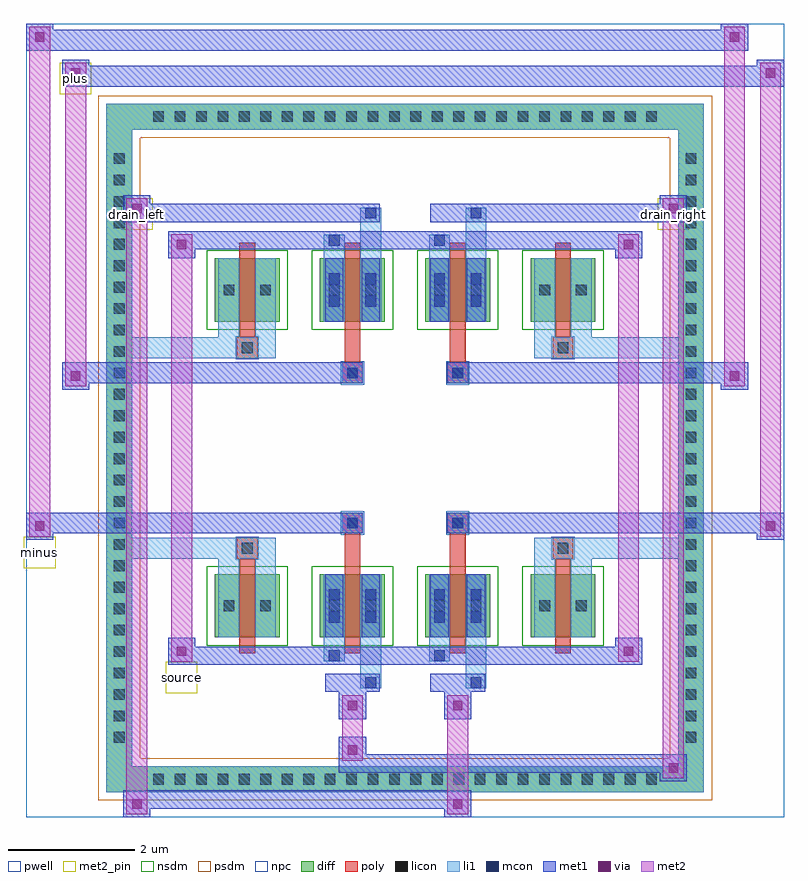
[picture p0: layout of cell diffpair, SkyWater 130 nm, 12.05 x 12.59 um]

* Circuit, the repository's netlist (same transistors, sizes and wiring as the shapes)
* NGSPICE file created from diffpair.ext - technology: sky130A

.subckt diffpair minus drain_right drain_left source plus
X0 drain_right minus source a_n948_n1092# sky130_fd_pr__nfet_01v8 ad=0.39 pd=2.78 as=0.39 ps=2.78 w=1 l=0.25
X1 a_n948_n1092# a_n948_n1092# a_n948_n1092# a_n948_n1092# sky130_fd_pr__nfet_01v8 ad=0.39 pd=2.78 as=3.12 ps=22.24 w=1 l=0.25
X2 a_n948_n1092# a_n948_n1092# a_n948_n1092# a_n948_n1092# sky130_fd_pr__nfet_01v8 ad=0.39 pd=2.78 as=0 ps=0 w=1 l=0.25
X3 drain_right minus source a_n948_n1092# sky130_fd_pr__nfet_01v8 ad=0.39 pd=2.78 as=0.39 ps=2.78 w=1 l=0.25
X4 drain_left plus source a_n948_n1092# sky130_fd_pr__nfet_01v8 ad=0.39 pd=2.78 as=0.39 ps=2.78 w=1 l=0.25
X5 a_n948_n1092# a_n948_n1092# a_n948_n1092# a_n948_n1092# sky130_fd_pr__nfet_01v8 ad=0.39 pd=2.78 as=0 ps=0 w=1 l=0.25
X6 a_n948_n1092# a_n948_n1092# a_n948_n1092# a_n948_n1092# sky130_fd_pr__nfet_01v8 ad=0.39 pd=2.78 as=0 ps=0 w=1 l=0.25
X7 drain_left plus source a_n948_n1092# sky130_fd_pr__nfet_01v8 ad=0.39 pd=2.78 as=0.39 ps=2.78 w=1 l=0.25
.ends

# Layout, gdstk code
import gdstk
lib = gdstk.Library(unit=1e-6, precision=5e-09)
def R(c, l, rs):  # rectangles x0, y0, x1, y1
    for r in rs: c.add(gdstk.rectangle(r[:2], r[2:], *l))
def A(c, l, x, y, w, h, nx, ny, dx, dy):  # array of equal rectangles
    R(c, l, [(x+i*dx, y+j*dy, x+i*dx+w, y+j*dy+h) for i in range(nx) for j in range(ny)])
def P(c, l, *ps):  # polygons
    for p in ps: c.add(gdstk.Polygon(p, *l))
pwell = (64, 44)
diff = (65, 20)
poly = (66, 20)
licon = (66, 44)
li1 = (67, 20)
mcon = (67, 44)
met1 = (68, 20)
via = (68, 44)
met2_pin = (69, 16)
met2 = (69, 20)
nsdm = (93, 44)
psdm = (94, 20)
npc = (95, 20)

diffpair = lib.new_cell('diffpair')
R(diffpair, pwell, [(-6.01,-5.86,6.01,6.73), (-3.33,-4.05,-0.01,-0.825), (0.01,-4.05,3.33,-0.825), (-3.33,0.825,-0.01,4.05), (0.01,0.825,3.33,4.05)])
A(diffpair, diff, -4.115, -5.46, 0.41, 0.41, 24, 2, 0.34, 10.51)
A(diffpair, diff, -4.74, -4.795, 0.41, 0.41, 1, 28, 0, 0.34)
A(diffpair, diff, 4.33, -4.795, 0.41, 0.41, 1, 28, 0, 0.34)
A(diffpair, diff, -3.02, -3.005, 1.03, 1, 4, 2, 1.67, 5.01)
R(diffpair, diff, [(-4.115,-5.46,4.115,-5.05), (-4.74,-4.795,-4.33,4.795), (4.33,-4.795,4.74,4.795), (-4.115,5.05,4.115,5.46)])
P(diffpair, diff, [(4.74,5.46),(-4.74,5.46),(-4.74,-5.05),(-4.33,-5.05),(-4.33,5.05),(4.33,5.05),(4.33,-5.05),(-4.33,-5.05),(-4.74,-5.05),(-4.74,-5.46),(4.74,-5.46)])
A(diffpair, poly, -2.63, -3.255, 0.25, 1.5, 4, 2, 1.67, 5.01)
R(diffpair, poly, [(-2.67,-1.755,-2.34,-1.425), (-2.67,-1.755,-2.34,-1.425), (-0.96,-1.755,-0.71,-1.355), (0.71,-1.755,0.96,-1.355), (2.34,-1.755,2.67,-1.425), (2.34,-1.755,2.67,-1.425), (-1,-1.355,-0.67,-1.025), (-1,-1.355,-0.67,-1.025), (0.67,-1.355,1,-1.025), (0.67,-1.355,1,-1.025), (-1,1.025,-0.67,1.355), (-1,1.025,-0.67,1.355), (0.67,1.025,1,1.355), (0.67,1.025,1,1.355), (-0.96,1.355,-0.71,1.755), (0.71,1.355,0.96,1.755), (-2.67,1.425,-2.34,1.755), (-2.67,1.425,-2.34,1.755), (2.34,1.425,2.67,1.755), (2.34,1.425,2.67,1.755)])
A(diffpair, licon, -3.995, -5.34, 0.17, 0.17, 24, 2, 0.34, 10.51)
A(diffpair, licon, -4.62, -4.675, 0.17, 0.17, 1, 28, 0, 0.34)
A(diffpair, licon, 4.45, -4.675, 0.17, 0.17, 1, 28, 0, 0.34)
R(diffpair, licon, [(-2.88,-2.59,-2.71,-2.42), (-2.3,-2.59,-2.13,-2.42), (-1.21,-2.59,-1.04,-2.42), (-0.63,-2.59,-0.46,-2.42), (0.46,-2.59,0.63,-2.42), (1.04,-2.59,1.21,-2.42), (2.13,-2.59,2.3,-2.42), (2.71,-2.59,2.88,-2.42), (-2.59,-1.675,-2.42,-1.505), (2.42,-1.675,2.59,-1.505), (-0.92,-1.275,-0.75,-1.105), (0.75,-1.275,0.92,-1.105), (-0.92,1.105,-0.75,1.275), (0.75,1.105,0.92,1.275), (-2.59,1.505,-2.42,1.675), (2.42,1.505,2.59,1.675), (-2.88,2.42,-2.71,2.59), (-2.3,2.42,-2.13,2.59), (-1.21,2.42,-1.04,2.59), (-0.63,2.42,-0.46,2.59), (0.46,2.42,0.63,2.59), (1.04,2.42,1.21,2.59), (2.13,2.42,2.3,2.59), (2.71,2.42,2.88,2.59)])
A(diffpair, li1, -4.075, -5.42, 0.33, 0.33, 24, 2, 0.34, 10.51)
A(diffpair, li1, -4.7, -4.755, 0.33, 0.33, 1, 28, 0, 0.34)
A(diffpair, li1, 4.37, -4.755, 0.33, 0.33, 1, 28, 0, 0.34)
R(diffpair, li1, [(-4.74,-5.46,-4.33,-5.05), (-4.74,-5.46,-4.33,-5.05), (-4.33,-5.46,4.33,-5.05), (4.33,-5.46,4.74,-5.05), (4.33,-5.46,4.74,-5.05), (-4.74,-5.05,-4.33,5.05), (4.33,-5.05,4.74,5.05), (-0.71,-3.81,-0.38,-3.005), (-0.63,-3.81,-0.46,-3.64), (0.96,-3.81,1.29,-3.005), (1.04,-3.81,1.21,-3.64), (-1.29,-3.38,-0.96,-3.005), (-1.21,-3.38,-1.04,-3.21), (0.38,-3.38,0.71,-3.005), (0.46,-3.38,0.63,-3.21), (-2.96,-3.005,-2.63,-2.005), (-2.38,-3.005,-2.05,-2.005), (-1.29,-3.005,-0.96,-2.005), (-0.71,-3.005,-0.38,-2.005), (0.38,-3.005,0.71,-2.005), (0.96,-3.005,1.29,-2.005), (2.05,-3.005,2.38,-2.005), (2.63,-3.005,2.96,-2.005), (-1.21,-2.77,-1.04,-2.6), (-1.21,-2.77,-1.04,-2.24), (-0.63,-2.77,-0.46,-2.6), (-0.63,-2.77,-0.46,-2.24), (0.46,-2.77,0.63,-2.6), (0.46,-2.77,0.63,-2.24), (1.04,-2.77,1.21,-2.6), (1.04,-2.77,1.21,-2.24), (-2.96,-2.67,-2.63,-2.34), (-2.38,-2.67,-2.05,-2.34), (-1.29,-2.67,-0.96,-2.34), (-0.71,-2.67,-0.38,-2.34), (0.38,-2.67,0.71,-2.34), (0.96,-2.67,1.29,-2.34), (2.05,-2.67,2.38,-2.34), (2.63,-2.67,2.96,-2.34), (-1.21,-2.41,-1.04,-2.24), (-0.63,-2.41,-0.46,-2.24), (0.46,-2.41,0.63,-2.24), (1.04,-2.41,1.21,-2.24), (-2.96,-2.005,-2.63,-1.425), (-2.38,-2.005,-2.05,-1.425), (2.05,-2.005,2.38,-1.425), (2.63,-2.005,2.96,-1.425), (-4.74,-1.755,-2.67,-1.425), (-2.96,-1.755,-2.67,-1.425), (-2.67,-1.755,-2.34,-1.425), (-2.34,-1.755,-2.05,-1.425), (2.05,-1.755,2.34,-1.425), (2.34,-1.755,2.67,-1.425), (2.34,-1.755,4.74,-1.425), (2.67,-1.755,2.96,-1.425), (-1,-1.355,-0.67,-1.025), (0.67,-1.355,1,-1.025), (-1,1.025,-0.67,1.355), (0.67,1.025,1,1.355), (-4.74,1.425,-2.67,1.755), (-2.96,1.425,-2.67,1.755), (-2.96,1.425,-2.63,2.005), (-2.67,1.425,-2.34,1.755), (-2.38,1.425,-2.05,2.005), (-2.34,1.425,-2.05,1.755), (2.05,1.425,2.34,1.755), (2.05,1.425,2.38,2.005), (2.34,1.425,2.67,1.755), (2.34,1.425,4.74,1.755), (2.63,1.425,2.96,2.005), (2.67,1.425,2.96,1.755), (-2.96,2.005,-2.63,3.005), (-2.38,2.005,-2.05,3.005), (-1.29,2.005,-0.96,3.005), (-0.71,2.005,-0.38,3.005), (0.38,2.005,0.71,3.005), (0.96,2.005,1.29,3.005), (2.05,2.005,2.38,3.005), (2.63,2.005,2.96,3.005), (-1.21,2.24,-1.04,2.41), (-1.21,2.24,-1.04,2.77), (-0.63,2.24,-0.46,2.41), (-0.63,2.24,-0.46,2.77), (0.46,2.24,0.63,2.41), (0.46,2.24,0.63,2.77), (1.04,2.24,1.21,2.41), (1.04,2.24,1.21,2.77), (-2.96,2.34,-2.63,2.67), (-2.38,2.34,-2.05,2.67), (-1.29,2.34,-0.96,2.67), (-0.71,2.34,-0.38,2.67), (0.38,2.34,0.71,2.67), (0.96,2.34,1.29,2.67), (2.05,2.34,2.38,2.67), (2.63,2.34,2.96,2.67), (-1.21,2.6,-1.04,2.77), (-0.63,2.6,-0.46,2.77), (0.46,2.6,0.63,2.77), (1.04,2.6,1.21,2.77), (-1.29,3.005,-0.96,3.38), (-0.71,3.005,-0.38,3.81), (0.38,3.005,0.71,3.38), (0.96,3.005,1.29,3.81), (-1.21,3.21,-1.04,3.38), (0.46,3.21,0.63,3.38), (-0.63,3.64,-0.46,3.81), (1.04,3.64,1.21,3.81), (-4.74,5.05,-4.33,5.46), (-4.74,5.05,-4.33,5.46), (-4.33,5.05,4.33,5.46), (4.33,5.05,4.74,5.46), (4.33,5.05,4.74,5.46)])
R(diffpair, mcon, [(-0.63,-3.81,-0.46,-3.64), (1.04,-3.81,1.21,-3.64), (-1.21,-3.38,-1.04,-3.21), (0.46,-3.38,0.63,-3.21), (-1.21,-2.77,-1.04,-2.6), (-0.63,-2.77,-0.46,-2.6), (0.46,-2.77,0.63,-2.6), (1.04,-2.77,1.21,-2.6), (-1.21,-2.41,-1.04,-2.24), (-0.63,-2.41,-0.46,-2.24), (0.46,-2.41,0.63,-2.24), (1.04,-2.41,1.21,-2.24), (-0.92,-1.275,-0.75,-1.105), (0.75,-1.275,0.92,-1.105), (-0.92,1.105,-0.75,1.275), (0.75,1.105,0.92,1.275), (-1.21,2.24,-1.04,2.41), (-0.63,2.24,-0.46,2.41), (0.46,2.24,0.63,2.41), (1.04,2.24,1.21,2.41), (-1.21,2.6,-1.04,2.77), (-0.63,2.6,-0.46,2.77), (0.46,2.6,0.63,2.77), (1.04,2.6,1.21,2.77), (-1.21,3.21,-1.04,3.38), (0.46,3.21,0.63,3.38), (-0.63,3.64,-0.46,3.81), (1.04,3.64,1.21,3.81)])
R(diffpair, met1, [(-4.47,-5.86,-4.04,-5.43), (0.62,-5.86,1.05,-5.43), (-4.47,-5.72,1.05,-5.43), (4.04,-5.29,4.47,-4.86), (-1.05,-5.15,4.47,-4.86), (-1.05,-5.01,-0.62,-4.58), (-1.05,-4.3,-0.62,-3.87), (0.62,-4.3,1.05,-3.87), (-1.27,-3.87,-0.4,-3.58), (-0.69,-3.87,-0.4,-3.58), (0.4,-3.87,1.27,-3.58), (0.98,-3.87,1.27,-3.58), (-3.76,-3.44,-3.33,-3.01), (-3.76,-3.44,-1.27,-3.15), (-1.27,-3.44,-0.98,-3.15), (-1.27,-3.44,-0.4,-3.15), (-0.4,-3.44,0.4,-3.15), (0.4,-3.44,0.69,-3.15), (0.4,-3.44,1.27,-3.15), (1.27,-3.44,3.76,-3.15), (3.33,-3.44,3.76,-3.01), (-1.27,-3.005,-0.98,-2.005), (-0.69,-3.005,-0.4,-2.005), (0.4,-3.005,0.69,-2.005), (0.98,-3.005,1.27,-2.005), (-1.27,-2.83,-0.98,-2.54), (-0.69,-2.83,-0.4,-2.54), (0.4,-2.83,0.69,-2.54), (0.98,-2.83,1.27,-2.54), (-1.27,-2.47,-0.98,-2.18), (-0.69,-2.47,-0.4,-2.18), (0.4,-2.47,0.69,-2.18), (0.98,-2.47,1.27,-2.18), (-6.01,-1.455,-5.58,-1.025), (5.58,-1.455,6.01,-1.025), (-6.01,-1.355,-0.67,-1.025), (-1,-1.355,-0.67,-1.025), (0.67,-1.355,1,-1.025), (0.67,-1.355,6.01,-1.025), (-0.98,-1.335,-0.69,-1.045), (0.69,-1.335,0.98,-1.045), (-5.44,0.925,-5.01,1.355), (5.01,0.925,5.44,1.355), (-5.44,1.025,-1,1.355), (-1,1.025,-0.67,1.355), (0.67,1.025,1,1.355), (1,1.025,5.44,1.355), (-0.98,1.045,-0.69,1.335), (0.69,1.045,0.98,1.335), (-1.27,2.005,-0.98,3.005), (-0.69,2.005,-0.4,3.005), (0.4,2.005,0.69,3.005), (0.98,2.005,1.27,3.005), (-1.27,2.18,-0.98,2.47), (-0.69,2.18,-0.4,2.47), (0.4,2.18,0.69,2.47), (0.98,2.18,1.27,2.47), (-1.27,2.54,-0.98,2.83), (-0.69,2.54,-0.4,2.83), (0.4,2.54,0.69,2.83), (0.98,2.54,1.27,2.83), (-3.76,3.01,-3.33,3.44), (3.33,3.01,3.76,3.44), (-3.76,3.15,-1.27,3.44), (-1.27,3.15,-0.98,3.44), (-1.27,3.15,-0.4,3.44), (-0.4,3.15,0.4,3.44), (0.4,3.15,0.69,3.44), (0.4,3.15,1.27,3.44), (1.27,3.15,3.76,3.44), (-4.47,3.58,-4.04,4.01), (-4.47,3.58,-1.27,3.87), (-1.27,3.58,-0.4,3.87), (-0.69,3.58,-0.4,3.87), (0.4,3.58,1.27,3.87), (0.98,3.58,1.27,3.87), (1.27,3.58,4.47,3.87), (4.04,3.58,4.47,4.01), (-5.44,5.73,-5.01,6.16), (-5.44,5.73,-3.33,6.06), (-3.33,5.73,3.33,6.06), (3.33,5.73,6.01,6.06), (5.58,5.73,6.01,6.16), (-6.01,6.3,-5.58,6.73), (-6.01,6.3,-3.33,6.63), (-3.33,6.3,3.33,6.63), (3.33,6.3,5.44,6.63), (5.01,6.3,5.44,6.73)])
R(diffpair, via, [(-4.33,-5.72,-4.18,-5.57), (0.76,-5.72,0.91,-5.57), (4.18,-5.15,4.33,-5), (-0.91,-4.87,-0.76,-4.72), (-0.91,-4.16,-0.76,-4.01), (0.76,-4.16,0.91,-4.01), (-3.62,-3.3,-3.47,-3.15), (3.47,-3.3,3.62,-3.15), (-5.87,-1.315,-5.72,-1.165), (5.72,-1.315,5.87,-1.165), (-5.3,1.065,-5.15,1.215), (5.15,1.065,5.3,1.215), (-3.62,3.15,-3.47,3.3), (3.47,3.15,3.62,3.3), (-4.33,3.72,-4.18,3.87), (4.18,3.72,4.33,3.87), (-5.3,5.87,-5.15,6.02), (5.72,5.87,5.87,6.02), (-5.87,6.44,-5.72,6.59), (5.15,6.44,5.3,6.59)])
R(diffpair, met2_pin, [(-3.795,-3.89,-3.295,-3.39), (-6.045,-1.905,-5.545,-1.405), (-4.505,3.46,-4.005,3.96), (4.005,3.46,4.505,3.96), (-5.475,5.61,-4.975,6.11)])
R(diffpair, met2, [(-4.42,-5.81,-4.09,-5.48), (-4.42,-5.81,-4.09,3.96), (0.67,-5.81,1,-5.48), (0.67,-5.48,1,-4.25), (4.09,-5.24,4.42,-4.91), (4.09,-5.24,4.42,3.96), (-1,-4.96,-0.67,-4.63), (-1,-4.63,-0.67,-4.25), (-1,-4.25,-0.67,-3.92), (0.67,-4.25,1,-3.92), (-3.71,-3.39,-3.38,-3.06), (-3.71,-3.39,-3.38,3.39), (3.38,-3.39,3.71,-3.06), (3.38,-3.39,3.71,3.39), (-5.96,-1.405,-5.63,-1.075), (-5.96,-1.405,-5.63,6.68), (5.63,-1.405,5.96,-1.075), (5.63,-1.405,5.96,6.11), (-5.39,0.975,-5.06,1.305), (-5.39,0.975,-5.06,6.11), (5.06,0.975,5.39,1.305), (5.06,0.975,5.39,6.68), (-3.71,3.06,-3.38,3.39), (3.38,3.06,3.71,3.39), (-4.42,3.63,-4.09,3.96), (4.09,3.63,4.42,3.96), (-5.39,5.78,-5.06,6.11), (5.63,5.78,5.96,6.11), (-5.96,6.35,-5.63,6.68), (5.06,6.35,5.39,6.68)])
P(diffpair, met2, [(5.96,-1.405),(5.96,-1.405),(5.96,-1.075),(5.96,-1.075)],
  [(5.96,5.78),(5.96,5.78),(5.96,6.11),(5.96,6.11)],
  [(-5.63,-1.405),(-5.63,-1.405),(-5.63,-1.075),(-5.63,-1.075)],
  [(-5.63,6.35),(-5.63,6.35),(-5.63,6.68),(-5.63,6.68)],
  [(5.39,0.975),(5.39,0.975),(5.39,1.305),(5.39,1.305)],
  [(5.39,6.35),(5.39,6.35),(5.39,6.68),(5.39,6.68)],
  [(-5.06,0.975),(-5.06,0.975),(-5.06,1.305),(-5.06,1.305)],
  [(-5.06,5.78),(-5.06,5.78),(-5.06,6.11),(-5.06,6.11)],
  [(-4.09,-5.81),(-4.09,-5.81),(-4.09,-5.48),(-4.09,-5.48)],
  [(-4.09,3.63),(-4.09,3.63),(-4.09,3.96),(-4.09,3.96)],
  [(4.42,-5.24),(4.42,-5.24),(4.42,-4.91),(4.42,-4.91)],
  [(4.42,3.63),(4.42,3.63),(4.42,3.96),(4.42,3.96)],
  [(-3.38,-3.39),(-3.38,-3.39),(-3.38,-3.06),(-3.38,-3.06)],
  [(-3.38,3.06),(-3.38,3.06),(-3.38,3.39),(-3.38,3.39)],
  [(3.71,-3.39),(3.71,-3.39),(3.71,-3.06),(3.71,-3.06)],
  [(3.71,3.06),(3.71,3.06),(3.71,3.39),(3.71,3.39)])
A(diffpair, nsdm, -3.15, -3.135, 1.29, 1.26, 4, 2, 1.67, 5.01)
P(diffpair, psdm, [(4.87,5.59),(-4.87,5.59),(-4.87,-4.92),(-4.2,-4.92),(-4.2,4.92),(4.2,4.92),(4.2,-4.92),(-4.2,-4.92),(-4.87,-4.92),(-4.87,-5.59),(4.87,-5.59)])
R(diffpair, npc, [(-2.69,-1.775,-2.32,-1.405), (2.32,-1.775,2.69,-1.405), (-1.02,-1.375,-0.65,-1.005), (0.65,-1.375,1.02,-1.005), (-1.02,1.005,-0.65,1.375), (0.65,1.005,1.02,1.375), (-2.69,1.405,-2.32,1.775), (2.32,1.405,2.69,1.775)])
diffpair.add(gdstk.Label('minus', (-5.795,-1.655), layer=69, texttype=5))
diffpair.add(gdstk.Label('drain_right', (4.255,3.71), layer=69, texttype=5))
diffpair.add(gdstk.Label('drain_left', (-4.255,3.71), layer=69, texttype=5))
diffpair.add(gdstk.Label('source', (-3.545,-3.64), layer=69, texttype=5))
diffpair.add(gdstk.Label('plus', (-5.225,5.86), layer=69, texttype=5))

lib.write_gds('diffpair.gds')
